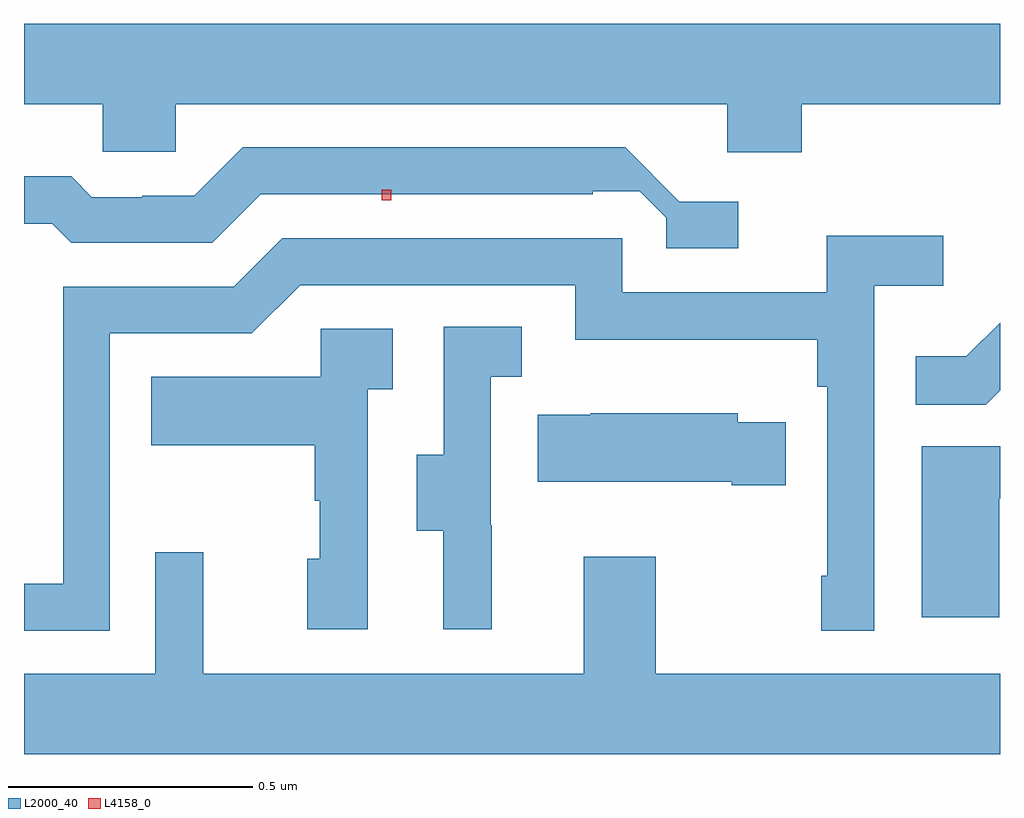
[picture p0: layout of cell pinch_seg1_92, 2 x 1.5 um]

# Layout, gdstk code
import gdstk
lib = gdstk.Library(unit=1e-6, precision=1e-09)
def R(c, l, rs):  # rectangles x0, y0, x1, y1
    for r in rs: c.add(gdstk.rectangle(r[:2], r[2:], *l))
def P(c, l, *ps):  # polygons
    for p in ps: c.add(gdstk.Polygon(p, *l))
L2000_40 = (2000, 40)
L4158_0 = (4158, 0)

pinch_seg1_92 = lib.new_cell('pinch_seg1_92')
P(pinch_seg1_92, L2000_40, [(1057.76,570.38),(1058.166,570.38),(1058.166,570.544),(1056.166,570.544),(1056.166,570.38),(1056.327,570.38),(1056.327,570.282),(1056.477,570.282),(1056.477,570.38),(1057.607,570.38),(1057.607,570.281),(1057.76,570.281)],
  [(1057.63,570.18),(1057.509,570.18),(1057.398,570.291),(1056.614,570.291),(1056.515,570.192),(1056.408,570.192),(1056.408,570.189),(1056.305,570.189),(1056.263,570.232),(1056.166,570.232),(1056.166,570.135),(1056.224,570.135),(1056.263,570.096),(1056.552,570.096),(1056.651,570.195),(1057.331,570.195),(1057.331,570.201),(1057.428,570.201),(1057.482,570.147),(1057.482,570.084),(1057.63,570.084)],
  [(1056.342,569.91),(1056.633,569.91),(1056.732,570.009),(1057.296,570.009),(1057.296,569.897),(1057.792,569.897),(1057.792,569.801),(1057.812,569.801),(1057.812,569.413),(1057.8,569.413),(1057.8,569.301),(1057.908,569.301),(1057.908,570.008),(1058.05,570.008),(1058.05,570.11),(1057.811,570.11),(1057.811,569.994),(1057.392,569.994),(1057.392,570.105),(1056.695,570.105),(1056.596,570.006),(1056.246,570.006),(1056.246,569.397),(1056.166,569.397),(1056.166,569.301),(1056.342,569.301)],
  [(1058.166,569.793),(1058.166,569.932),(1058.097,569.863),(1057.993,569.863),(1057.993,569.764),(1058.137,569.764)],
  [(1057.124,569.517),(1057.122,569.517),(1057.122,569.821),(1057.186,569.821),(1057.186,569.924),(1057.026,569.924),(1057.026,569.661),(1056.971,569.661),(1056.971,569.506),(1057.025,569.506),(1057.025,569.304),(1057.124,569.304)],
  [(1056.87,569.795),(1056.922,569.795),(1056.922,569.919),(1056.774,569.919),(1056.774,569.821),(1056.427,569.821),(1056.427,569.681),(1056.762,569.681),(1056.762,569.567),(1056.772,569.567),(1056.772,569.448),(1056.746,569.448),(1056.746,569.304),(1056.87,569.304)],
  [(1057.727,569.728),(1057.629,569.728),(1057.629,569.746),(1057.327,569.746),(1057.327,569.743),(1057.219,569.743),(1057.219,569.606),(1057.616,569.606),(1057.616,569.599),(1057.727,569.599)],
  [(1058.164,569.571),(1058.166,569.571),(1058.166,569.679),(1058.006,569.679),(1058.006,569.328),(1058.164,569.328)],
  [(1058.166,569.212),(1057.461,569.212),(1057.461,569.452),(1057.313,569.452),(1057.313,569.212),(1056.533,569.212),(1056.533,569.461),(1056.435,569.461),(1056.435,569.212),(1056.166,569.212),(1056.166,569.048),(1058.166,569.048)])
R(pinch_seg1_92, L4158_0, [(1056.899,570.183,1056.919,570.204)])

lib.write_gds('pinch_seg1_92.gds')
